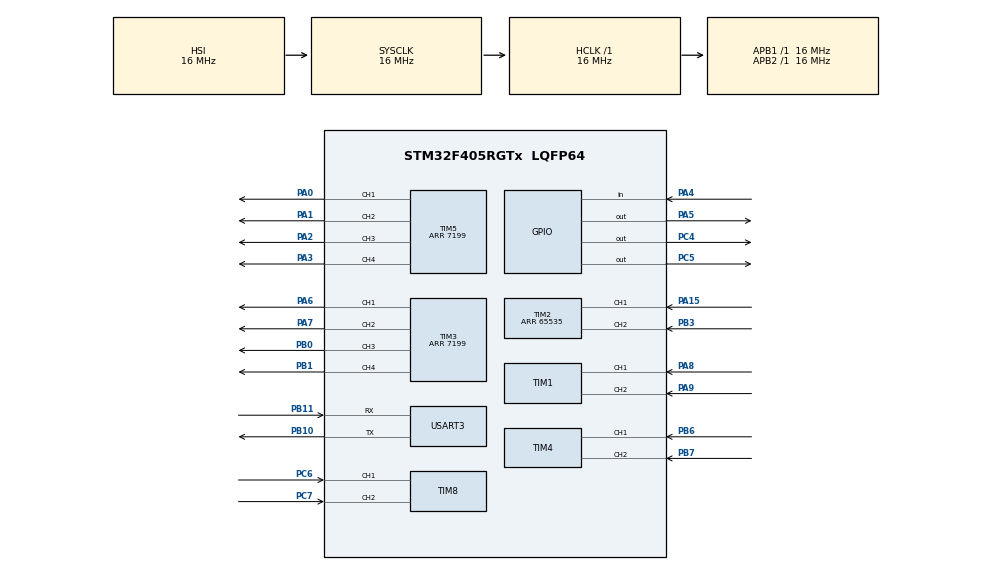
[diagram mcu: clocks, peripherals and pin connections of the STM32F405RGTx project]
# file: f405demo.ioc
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Dma.Request0=USART3_RX
Dma.Request1=USART3_TX
Dma.USART3_RX.0.Direction=DMA_PERIPH_TO_MEMORY
Dma.USART3_RX.0.FIFOMode=DMA_FIFOMODE_DISABLE
Dma.USART3_RX.0.Instance=DMA1_Stream1
Dma.USART3_RX.0.MemDataAlignment=DMA_MDATAALIGN_BYTE
Dma.USART3_RX.0.MemInc=DMA_MINC_ENABLE
Dma.USART3_RX.0.Mode=DMA_CIRCULAR
Dma.USART3_RX.0.PeriphDataAlignment=DMA_PDATAALIGN_BYTE
Dma.USART3_RX.0.PeriphInc=DMA_PINC_DISABLE
Dma.USART3_RX.0.Priority=DMA_PRIORITY_LOW
Dma.USART3_TX.1.Direction=DMA_MEMORY_TO_PERIPH
Dma.USART3_TX.1.FIFOMode=DMA_FIFOMODE_DISABLE
Dma.USART3_TX.1.Instance=DMA1_Stream3
Dma.USART3_TX.1.MemDataAlignment=DMA_MDATAALIGN_BYTE
Dma.USART3_TX.1.MemInc=DMA_MINC_ENABLE
Dma.USART3_TX.1.Mode=DMA_CIRCULAR
Dma.USART3_TX.1.PeriphDataAlignment=DMA_PDATAALIGN_BYTE
Dma.USART3_TX.1.PeriphInc=DMA_PINC_DISABLE
Dma.USART3_TX.1.Priority=DMA_PRIORITY_LOW
FREERTOS.Tasks01=defaultTask,24,128,StartDefaultTask,Default,NULL,Dynamic,NULL,NULL;motor_move,48,512,motor_move_entry,Default,NULL,Dynamic,NULL,NULL;remote_control,49,256,remote_control_entry,Default,NULL,Dynamic,NULL,NULL
FREERTOS.configENABLE_FPU=1
Mcu.Family=STM32F4
Mcu.Name=STM32F405RGTx
Mcu.Package=LQFP64
Mcu.UserConstants=soft_reset,$$_IWDG_IP_HANDLE_$$
NVIC.DMA1_Stream1_IRQn=true\:5\:0\:false\:true\:false\:1\:true\:false\:true\:true
NVIC.DMA1_Stream3_IRQn=true\:5\:0\:false\:true\:false\:2\:true\:false\:true\:true
NVIC.PriorityGroup=NVIC_PRIORITYGROUP_4
NVIC.TIM1_UP_TIM10_IRQn=true\:5\:0\:false\:true\:false\:3\:true\:true\:true\:true
NVIC.TIM2_IRQn=true\:5\:0\:false\:true\:false\:4\:true\:true\:true\:true
NVIC.TIM4_IRQn=true\:5\:0\:false\:true\:false\:5\:true\:true\:true\:true
NVIC.TIM8_TRG_COM_TIM14_IRQn=true\:5\:0\:false\:false\:false\:false\:false\:true\:true
NVIC.TIM8_UP_TIM13_IRQn=true\:5\:0\:false\:true\:false\:7\:true\:true\:true\:true
NVIC.TimeBase=TIM8_TRG_COM_TIM14_IRQn
NVIC.TimeBaseIP=TIM14
NVIC.USART3_IRQn=true\:5\:0\:true\:true\:false\:6\:true\:true\:true\:true
PA0-WKUP.Signal=S_TIM5_CH1
PA1.Signal=S_TIM5_CH2
PA13.Mode=Serial_Wire
PA13.Signal=SYS_JTMS-SWDIO
PA14.Mode=Serial_Wire
PA14.Signal=SYS_JTCK-SWCLK
PA15.Signal=S_TIM2_CH1_ETR
PA2.Signal=S_TIM5_CH3
PA3.Signal=S_TIM5_CH4
PA4.GPIO_PuPd=GPIO_PULLUP
PA4.Signal=GPIO_Input
PA5.GPIO_PuPd=GPIO_PULLUP
PA5.GPIO_Speed=GPIO_SPEED_FREQ_VERY_HIGH
PA5.PinState=GPIO_PIN_RESET
PA5.Signal=GPIO_Output
PA6.Signal=S_TIM3_CH1
PA7.Signal=S_TIM3_CH2
PA8.Signal=S_TIM1_CH1
PA9.Signal=S_TIM1_CH2
PB0.Signal=S_TIM3_CH3
PB1.Signal=S_TIM3_CH4
PB10.Mode=Asynchronous
PB10.Signal=USART3_TX
PB11.Mode=Asynchronous
PB11.Signal=USART3_RX
PB3.Signal=S_TIM2_CH2
PB6.Signal=S_TIM4_CH1
PB7.Signal=S_TIM4_CH2
PC4.Signal=GPIO_Output
PC5.GPIO_PuPd=GPIO_PULLUP
PC5.GPIO_Speed=GPIO_SPEED_FREQ_VERY_HIGH
PC5.Signal=GPIO_Output
PC6.Signal=S_TIM8_CH1
PC7.Signal=S_TIM8_CH2
ProjectManager.HeapSize=0x200
ProjectManager.StackSize=0x400
ProjectManager.TargetToolchain=MDK-ARM V5.32
RCC.AHBFreq_Value=16000000
RCC.APB1Freq_Value=16000000
RCC.APB2Freq_Value=16000000
RCC.CortexFreq_Value=16000000
RCC.HSE_VALUE=25000000
RCC.HSI_VALUE=16000000
RCC.LSE_VALUE=32768
RCC.SYSCLKFreq_VALUE=16000000
RCC.VCOOutputFreq_Value=192000000
SH.S_TIM1_CH1.0=TIM1_CH1,Encoder_Interface
SH.S_TIM1_CH2.0=TIM1_CH2,Encoder_Interface
SH.S_TIM2_CH1_ETR.0=TIM2_CH1,Encoder_Interface
SH.S_TIM2_CH2.0=TIM2_CH2,Encoder_Interface
SH.S_TIM3_CH1.0=TIM3_CH1,PWM Generation1 CH1
SH.S_TIM3_CH2.0=TIM3_CH2,PWM Generation2 CH2
SH.S_TIM3_CH3.0=TIM3_CH3,PWM Generation3 CH3
SH.S_TIM3_CH4.0=TIM3_CH4,PWM Generation4 CH4
SH.S_TIM4_CH1.0=TIM4_CH1,Encoder_Interface
SH.S_TIM4_CH2.0=TIM4_CH2,Encoder_Interface
SH.S_TIM5_CH1.0=TIM5_CH1,PWM Generation1 CH1
SH.S_TIM5_CH2.0=TIM5_CH2,PWM Generation2 CH2
SH.S_TIM5_CH3.0=TIM5_CH3,PWM Generation3 CH3
SH.S_TIM5_CH4.0=TIM5_CH4,PWM Generation4 CH4
SH.S_TIM8_CH1.0=TIM8_CH1,Encoder_Interface
SH.S_TIM8_CH2.0=TIM8_CH2,Encoder_Interface
TIM1.EncoderMode=TIM_ENCODERMODE_TI12
TIM1.IC1Filter=10
TIM1.IC2Filter=10
TIM2.EncoderMode=TIM_ENCODERMODE_TI12
TIM2.IC1Filter=10
TIM2.IC2Filter=10
TIM2.Period=65535
TIM3.Channel-PWM\ Generation1\ CH1=TIM_CHANNEL_1
TIM3.Channel-PWM\ Generation2\ CH2=TIM_CHANNEL_2
TIM3.Channel-PWM\ Generation3\ CH3=TIM_CHANNEL_3
TIM3.Channel-PWM\ Generation4\ CH4=TIM_CHANNEL_4
TIM3.Period=7199
TIM3.TIM_MasterOutputTrigger=TIM_TRGO_OC1
TIM4.EncoderMode=TIM_ENCODERMODE_TI12
TIM4.IC1Filter=10
TIM4.IC2Filter=10
TIM5.Channel-PWM\ Generation1\ CH1=TIM_CHANNEL_1
TIM5.Channel-PWM\ Generation2\ CH2=TIM_CHANNEL_2
TIM5.Channel-PWM\ Generation3\ CH3=TIM_CHANNEL_3
TIM5.Channel-PWM\ Generation4\ CH4=TIM_CHANNEL_4
TIM5.Period=7199
TIM5.TIM_MasterOutputTrigger=TIM_TRGO_OC1
TIM8.IC1Filter=10
TIM8.IC2Filter=10
USART3.VirtualMode=VM_ASYNC
VP_FREERTOS_VS_CMSIS_V2.Mode=CMSIS_V2
VP_IWDG_VS_IWDG.Mode=IWDG_Activate
VP_SYS_VS_tim14.Mode=TIM14
VP_TIM3_VS_ClockSourceINT.Mode=Internal
VP_TIM5_VS_ClockSourceINT.Mode=Internal
board=custom

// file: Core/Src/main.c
/* USER CODE BEGIN Header */
/**
  ******************************************************************************
  * @file           : main.c
  * @brief          : Main program body
  ******************************************************************************
  * @attention
  *
  * Copyright (c) 2025 STMicroelectronics.
  * All rights reserved.
  *
  * This software is licensed under terms that can be found in the LICENSE file
  * in the root directory of this software component.
  * If no LICENSE file comes with this software, it is provided AS-IS.
  *
  ******************************************************************************
  */
/* USER CODE END Header */
#include "main.h"
#include "cmsis_os.h"
#include "dma.h"
#include "iwdg.h"
#include "tim.h"
#include "usart.h"
#include "gpio.h"

/* USER CODE BEGIN Includes */
#include "MotorContrl.h"
#include "ax_ps2.h"
/* USER CODE END Includes */

/* USER CODE BEGIN PTD */
extern JOYSTICK_TypeDef table_state;  //�ֱ���ֵ�ṹ��
/* USER CODE END PTD */

void SystemClock_Config(void);
void MX_FREERTOS_Init(void);
static void MX_NVIC_Init(void);

int main(void)
{

  /* MCU Configuration--------------------------------------------------------*/

  /* Reset of all peripherals, Initializes the Flash interface and the Systick. */
  HAL_Init();

  /* Configure the system clock */
  SystemClock_Config();

  /* Initialize all configured peripherals */
  MX_GPIO_Init();
  MX_DMA_Init();
  MX_TIM3_Init();
  MX_TIM5_Init();
  MX_IWDG_Init();
  MX_TIM1_Init();
  MX_TIM2_Init();
  MX_TIM8_Init();
  MX_USART3_UART_Init();
  MX_TIM4_Init();

  /* Initialize interrupts */
  MX_NVIC_Init();
  /* USER CODE BEGIN 2 */
	Motor_init();
  /* USER CODE END 2 */

  /* Init scheduler */
  osKernelInitialize();

  /* Call init function for freertos objects (in cmsis_os2.c) */
  MX_FREERTOS_Init();

  /* Start scheduler */
  osKernelStart();

  /* We should never get here as control is now taken by the scheduler */

  /* Infinite loop */
  while (1)
  {

  }
}

void SystemClock_Config(void)
{
  RCC_OscInitTypeDef RCC_OscInitStruct = {0};
  RCC_ClkInitTypeDef RCC_ClkInitStruct = {0};

  /** Configure the main internal regulator output voltage
  */
  __HAL_RCC_PWR_CLK_ENABLE();
  __HAL_PWR_VOLTAGESCALING_CONFIG(PWR_REGULATOR_VOLTAGE_SCALE1);

  /** Initializes the RCC Oscillators according to the specified parameters
  * in the RCC_OscInitTypeDef structure.
  */
  RCC_OscInitStruct.OscillatorType = RCC_OSCILLATORTYPE_HSI|RCC_OSCILLATORTYPE_LSI;
  RCC_OscInitStruct.HSIState = RCC_HSI_ON;
  RCC_OscInitStruct.HSICalibrationValue = RCC_HSICALIBRATION_DEFAULT;
  RCC_OscInitStruct.LSIState = RCC_LSI_ON;
  RCC_OscInitStruct.PLL.PLLState = RCC_PLL_NONE;
  if (HAL_RCC_OscConfig(&RCC_OscInitStruct) != HAL_OK)
  {
    Error_Handler();
  }

  /** Initializes the CPU, AHB and APB buses clocks
  */
  RCC_ClkInitStruct.ClockType = RCC_CLOCKTYPE_HCLK|RCC_CLOCKTYPE_SYSCLK
                              |RCC_CLOCKTYPE_PCLK1|RCC_CLOCKTYPE_PCLK2;
  RCC_ClkInitStruct.SYSCLKSource = RCC_SYSCLKSOURCE_HSI;
  RCC_ClkInitStruct.AHBCLKDivider = RCC_SYSCLK_DIV1;
  RCC_ClkInitStruct.APB1CLKDivider = RCC_HCLK_DIV1;
  RCC_ClkInitStruct.APB2CLKDivider = RCC_HCLK_DIV1;

  if (HAL_RCC_ClockConfig(&RCC_ClkInitStruct, FLASH_LATENCY_0) != HAL_OK)
  {
    Error_Handler();
  }
}

/**
  * @brief NVIC Configuration.
  * @retval None
  */
static void MX_NVIC_Init(void)
{
  /* DMA1_Stream1_IRQn interrupt configuration */
  HAL_NVIC_SetPriority(DMA1_Stream1_IRQn, 5, 0);
  HAL_NVIC_EnableIRQ(DMA1_Stream1_IRQn);
  /* DMA1_Stream3_IRQn interrupt configuration */
  HAL_NVIC_SetPriority(DMA1_Stream3_IRQn, 5, 0);
  HAL_NVIC_EnableIRQ(DMA1_Stream3_IRQn);
  /* TIM1_UP_TIM10_IRQn interrupt configuration */
  HAL_NVIC_SetPriority(TIM1_UP_TIM10_IRQn, 5, 0);
  HAL_NVIC_EnableIRQ(TIM1_UP_TIM10_IRQn);
  /* TIM2_IRQn interrupt configuration */
  HAL_NVIC_SetPriority(TIM2_IRQn, 5, 0);
  HAL_NVIC_EnableIRQ(TIM2_IRQn);
  /* TIM4_IRQn interrupt configuration */
  HAL_NVIC_SetPriority(TIM4_IRQn, 5, 0);
  HAL_NVIC_EnableIRQ(TIM4_IRQn);
  /* USART3_IRQn interrupt configuration */
  HAL_NVIC_SetPriority(USART3_IRQn, 5, 0);
  HAL_NVIC_EnableIRQ(USART3_IRQn);
  /* TIM8_UP_TIM13_IRQn interrupt configuration */
  HAL_NVIC_SetPriority(TIM8_UP_TIM13_IRQn, 5, 0);
  HAL_NVIC_EnableIRQ(TIM8_UP_TIM13_IRQn);
}

void HAL_TIM_PeriodElapsedCallback(TIM_HandleTypeDef *htim)
{
  /* USER CODE BEGIN Callback 0 */
  if(htim->Instance == TIM1 || htim->Instance == TIM2 ||
       htim->Instance == TIM4 || htim->Instance == TIM8)
    {
        Encoder_Overflow_Handler(htim);
    }
  /* USER CODE END Callback 0 */
  if (htim->Instance == TIM14)
  {
    HAL_IncTick();
  }
}

void Error_Handler(void)
{
  __disable_irq();
  while (1)
  {
  }
}

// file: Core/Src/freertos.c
/* USER CODE BEGIN Header */
/**
  ******************************************************************************
  * File Name          : freertos.c
  * Description        : Code for freertos applications
  ******************************************************************************
  * @attention
  *
  * Copyright (c) 2025 STMicroelectronics.
  * All rights reserved.
  *
  * This software is licensed under terms that can be found in the LICENSE file
  * in the root directory of this software component.
  * If no LICENSE file comes with this software, it is provided AS-IS.
  *
  ******************************************************************************
  */
/* USER CODE END Header */

#include "FreeRTOS.h"
#include "task.h"
#include "main.h"
#include "cmsis_os.h"

/* USER CODE BEGIN Includes */
#include "MotorContrl.h"
#include "usart.h"
#include <string.h>    // Ϊ memset, strncpy, strlen �Ⱥ���
#include <stdlib.h>    // Ϊ strtol ����
#include "ax_ps2.h"    // Ϊ parse_joystick_data ����������
/* USER CODE END Includes */

/* Definitions for defaultTask */
osThreadId_t defaultTaskHandle;
const osThreadAttr_t defaultTask_attributes = {
  .name = "defaultTask",
  .stack_size = 128 * 4,
  .priority = (osPriority_t) osPriorityNormal,
};
/* Definitions for motor_move */
osThreadId_t motor_moveHandle;
const osThreadAttr_t motor_move_attributes = {
  .name = "motor_move",
  .stack_size = 512 * 4,
  .priority = (osPriority_t) osPriorityRealtime,
};
/* Definitions for remote_control */
osThreadId_t remote_controlHandle;
const osThreadAttr_t remote_control_attributes = {
  .name = "remote_control",
  .stack_size = 256 * 4,
  .priority = (osPriority_t) osPriorityRealtime1,
};

void StartDefaultTask(void *argument);
void motor_move_entry(void *argument);
void remote_control_entry(void *argument);

void MX_FREERTOS_Init(void); /* (MISRA C 2004 rule 8.1) */

void MX_FREERTOS_Init(void) {

  /* Create the thread(s) */
  /* creation of defaultTask */
  defaultTaskHandle = osThreadNew(StartDefaultTask, NULL, &defaultTask_attributes);

  /* creation of motor_move */
  motor_moveHandle = osThreadNew(motor_move_entry, NULL, &motor_move_attributes);

  /* creation of remote_control */
  remote_controlHandle = osThreadNew(remote_control_entry, NULL, &remote_control_attributes);

}

void StartDefaultTask(void *argument)
{
  for(;;)
  {
    osDelay(1);
  }
}

void motor_move_entry(void *argument)
{
  /* USER CODE BEGIN motor_move_entry */
  /* Infinite loop */
  for(;;)
  {
	Motor_contrl(table_state);
    osDelay(1);
  }
  /* USER CODE END motor_move_entry */
}

void remote_control_entry(void *argument)
{
  /* USER CODE BEGIN remote_control_entry */
  /* Infinite loop */
  for(;;)
  {
	//HAL_UART_RxHalfCpltCallback(&huart1);
	if (uart_rx_complete) {

        uart_rx_buffer[uart_rx_length] = '\0';

		parse_joystick_data((char*)uart_rx_buffer, &table_state);

        memset(uart_rx_buffer, 0, RX_BUFFER_SIZE);
        uart_rx_length = 0;
		uart_rx_complete = 0;
    }
    osDelay(1);
  }
  /* USER CODE END remote_control_entry */
}
